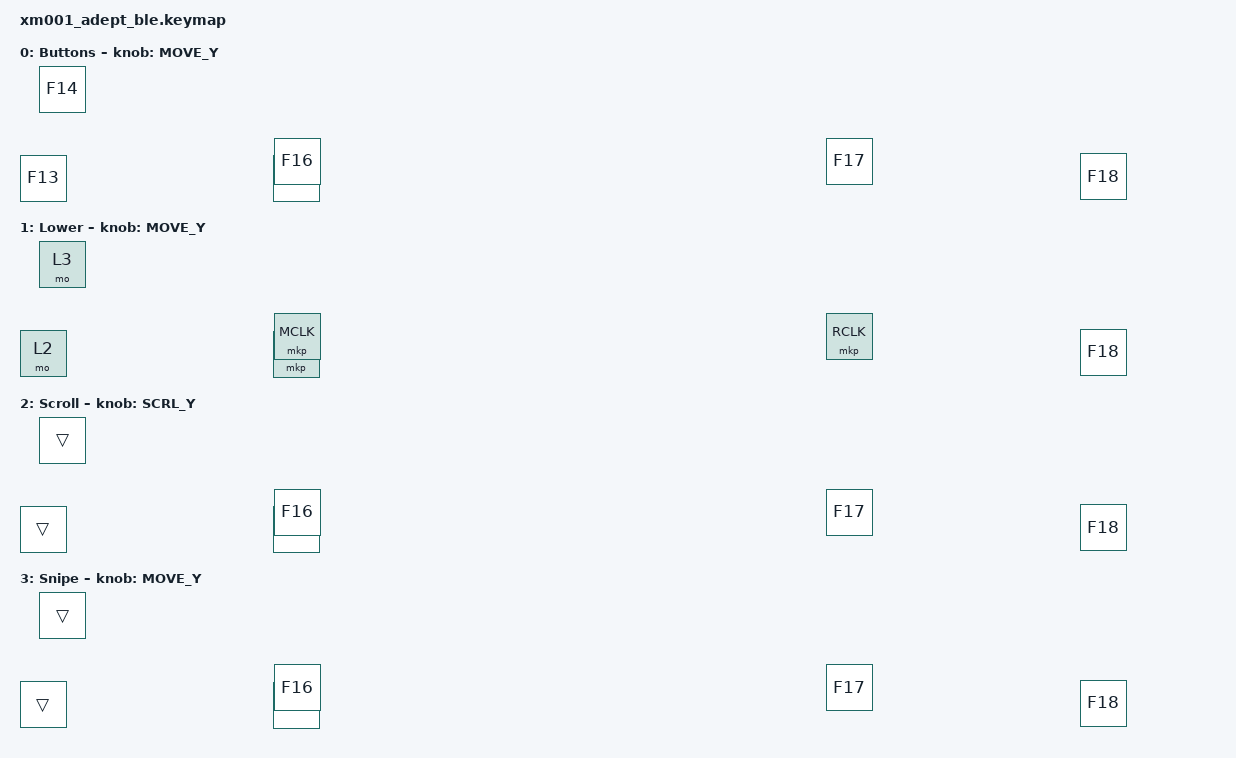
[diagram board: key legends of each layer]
/*
 * XM001-Adept_BLE default keymap
 *
 * 6 buttons + 1 trackball.  Layer order matters: the trackball driver is told
 * which layers mean scroll (2) and snipe (3) in xm001_adept_ble.overlay.
 *
 *   layer 0  Buttons   default on power-up, trackball moves the pointer
 *   layer 1  Lower     F-keys / media
 *   layer 2  Scroll    trackball scrolls
 *   layer 3  Snipe     fine pointer movement at reduced CPI
 *
 * SPDX-License-Identifier: MIT
 */

#include <behaviors.dtsi>
#include <dt-bindings/zmk/keys.h>
#include <dt-bindings/zmk/bt.h>
#include <dt-bindings/zmk/mouse.h>
#include <dt-bindings/zmk/outputs.h>
#include <dt-bindings/zmk/pointing.h>

/ {
	keymap {
		compatible = "zmk,keymap";

		/* K1..K6 = E73 net S1..S6, indices follow the matrix transform. */
		buttons_layer: buttons {
			display-name = "Buttons";
			bindings = <
				&kp F13  &kp F14  &kp F15  &kp F16  &kp F17  &kp F18
			>;
			sensor-bindings = <&mmv MOVE_Y>;
		};

		lower_layer: lower {
			display-name = "Lower";
			bindings = <
				&mo 2    &mo 3    &mkp LCLK  &mkp MCLK  &mkp RCLK  &kp F18
			>;
			sensor-bindings = <&mmv MOVE_Y>;
		};

		scroll_layer: scroll {
			display-name = "Scroll";
			bindings = <
				&trans   &trans   &kp F15  &kp F16  &kp F17  &kp F18
			>;
			sensor-bindings = <&msc SCRL_Y>;
		};

		snipe_layer: snipe {
			display-name = "Snipe";
			bindings = <
				&trans   &trans   &kp F15  &kp F16  &kp F17  &kp F18
			>;
			/* Snipe CPI comes from CONFIG_PMW3610_SNIPE_CPI. */
			sensor-bindings = <&mmv MOVE_Y>;
		};
	};
};
